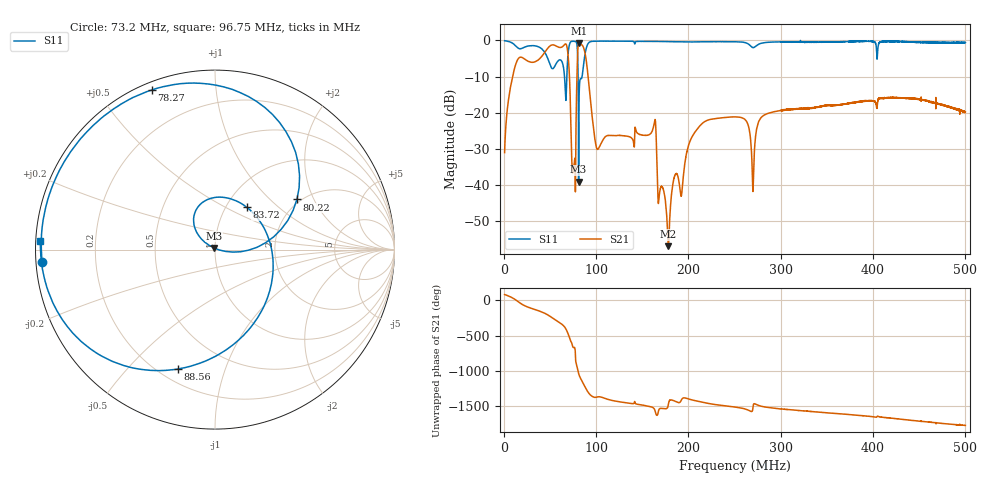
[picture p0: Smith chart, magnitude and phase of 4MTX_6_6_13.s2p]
! NanoVNA-App
! Date: 2026-08-18 22:17:44
! Start: 1MHz Stop: 500MHz Points: 6401
! S-Parameter data: F S11 S21 S12 S22
# Hz S RI R 50
!  Frequency  S11_Real  S11_Imag  S21_Real  S21_Imag  S12_Real  S12_Imag  S22_Real  S22_Imag
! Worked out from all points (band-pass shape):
!   6401 points, 1 MHz to 500 MHz, reference 50 ohm
!   highest |S21| = -0.84 dB at 81.31 MHz (marker M1); lowest = -56.9 dB at 178.5 MHz (marker M2)
!   |S21| within 3 dB of the highest: 43 MHz to 69.61 MHz (26.61 MHz wide, 47.3 % of centre); 80.06 MHz to 88.33 MHz (8.269 MHz wide, 9.82 % of centre)
!   lowest |S11| = -39.1 dB at 81.15 MHz (marker M3), VSWR 1.02, Z = 49.4 + j0.925 ohm
!   |S11| at or under -10 dB: 65.86 MHz to 68.37 MHz (2.506 MHz wide, 3.73 % of centre); 80.56 MHz to 84.89 MHz (4.33 MHz wide, 5.24 % of centre)
!   S12 and S22 are empty: the file has one direction only
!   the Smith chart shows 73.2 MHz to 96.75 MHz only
!   S11 on the Smith chart (normalised r, x): 73.2 MHz: 0.02, -0.04; 78.27 MHz: 0.03, +0.68; 80.22 MHz: 1.91, +1.50; 83.72 MHz: 1.24, +0.64; 88.56 MHz: 0.27, -0.70; 96.75 MHz: 0.01, +0.03
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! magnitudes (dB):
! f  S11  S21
! 1 MHz  -0.1  -31.0
! 14.8 MHz  -2.0  -5.5
! 52.69 MHz  -7.8  -1.2
! 68.13 MHz  -11.8  -1.4
! 73.2 MHz  -0.3  -28.0
! 78.27 MHz  -0.4  -24.7
! 80.22 MHz  -5.4  -2.9
! 81.15 MHz  -39.1  -0.9
! 81.31 MHz  -23.1  -0.8
! 83.72 MHz  -10.6  -1.1
! 84.19 MHz  -10.6  -1.2
! 88.56 MHz  -3.1  -4.2
! 96.75 MHz  -0.2  -23.2
! 162.6 MHz  -0.3  -23.5
! 167.4 MHz  -0.3  -44.8
! 178.5 MHz  -0.3  -56.9
! 205.7 MHz  -0.4  -25.9
! 250.5 MHz  -0.4  -21.2
! 269.9 MHz  -2.0  -41.8
! 333.7 MHz  -0.5  -18.8
! 416.9 MHz  -0.3  -16.0
! 500 MHz  -0.6  -19.8
